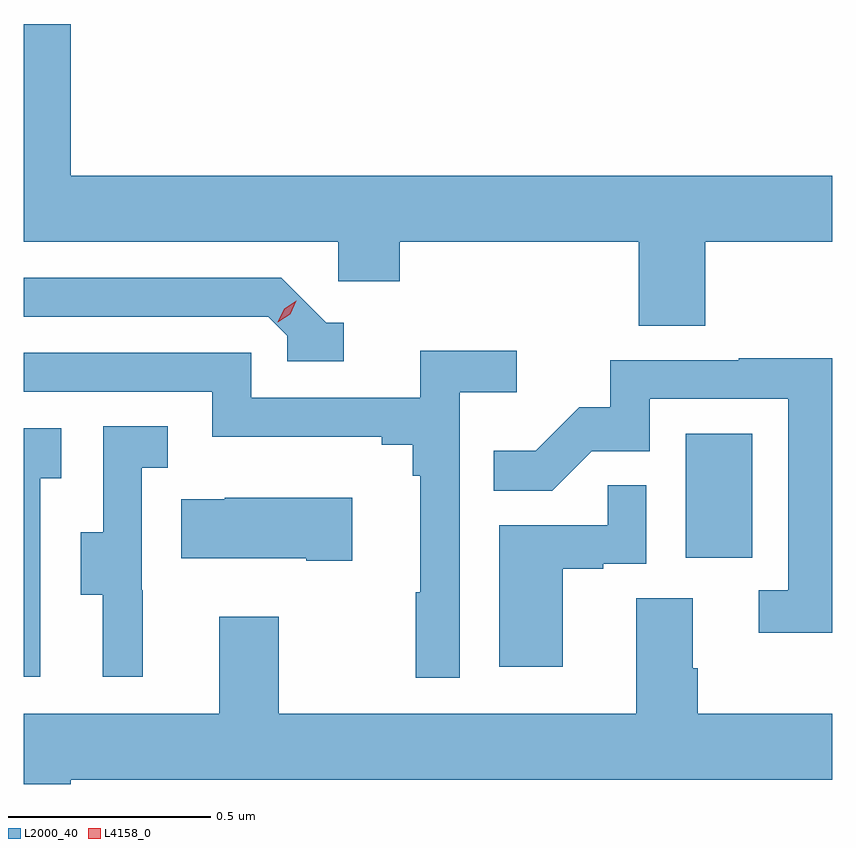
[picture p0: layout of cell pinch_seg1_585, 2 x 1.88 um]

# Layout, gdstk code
import gdstk
lib = gdstk.Library(unit=1e-6, precision=1e-09)
def R(c, l, rs):  # rectangles x0, y0, x1, y1
    for r in rs: c.add(gdstk.rectangle(r[:2], r[2:], *l))
def P(c, l, *ps):  # polygons
    for p in ps: c.add(gdstk.Polygon(p, *l))
L2000_40 = (2000, 40)
L4158_0 = (4158, 0)

pinch_seg1_585 = lib.new_cell('pinch_seg1_585')
R(pinch_seg1_585, L2000_40, [(1077.782,518.982,1077.946,519.289)])
P(pinch_seg1_585, L2000_40, [(1077.83,519.764),(1078.144,519.764),(1078.144,519.928),(1076.26,519.928),(1076.26,520.303),(1076.144,520.303),(1076.144,519.764),(1076.922,519.764),(1076.922,519.666),(1077.074,519.666),(1077.074,519.764),(1077.665,519.764),(1077.665,519.556),(1077.83,519.556)],
  [(1076.935,519.564),(1076.892,519.564),(1076.781,519.675),(1076.144,519.675),(1076.144,519.579),(1076.748,519.579),(1076.796,519.531),(1076.796,519.468),(1076.935,519.468)],
  [(1077.222,519.392),(1077.364,519.392),(1077.364,519.494),(1077.125,519.494),(1077.125,519.378),(1076.706,519.378),(1076.706,519.489),(1076.144,519.489),(1076.144,519.393),(1076.61,519.393),(1076.61,519.281),(1077.029,519.281),(1077.029,519.262),(1077.106,519.262),(1077.106,519.185),(1077.125,519.185),(1077.125,518.897),(1077.114,518.897),(1077.114,518.685),(1077.222,518.685)],
  [(1078.144,519.476),(1077.913,519.476),(1077.913,519.471),(1077.595,519.471),(1077.595,519.354),(1077.518,519.354),(1077.411,519.247),(1077.307,519.247),(1077.307,519.148),(1077.451,519.148),(1077.549,519.246),(1077.693,519.246),(1077.693,519.375),(1078.035,519.375),(1078.035,518.901),(1077.963,518.901),(1077.963,518.796),(1078.144,518.796)],
  [(1076.438,518.901),(1076.436,518.901),(1076.436,519.205),(1076.5,519.205),(1076.5,519.308),(1076.34,519.308),(1076.34,519.045),(1076.285,519.045),(1076.285,518.89),(1076.339,518.89),(1076.339,518.688),(1076.438,518.688)],
  [(1076.184,519.179),(1076.236,519.179),(1076.236,519.303),(1076.144,519.303),(1076.144,518.688),(1076.184,518.688)],
  [(1077.478,518.955),(1077.578,518.955),(1077.578,518.967),(1077.684,518.967),(1077.684,519.161),(1077.589,519.161),(1077.589,519.063),(1077.32,519.063),(1077.32,518.712),(1077.478,518.712)],
  [(1076.956,519.13),(1076.641,519.13),(1076.641,519.127),(1076.533,519.127),(1076.533,518.981),(1076.843,518.981),(1076.843,518.974),(1076.956,518.974)],
  [(1076.26,518.432),(1078.144,518.432),(1078.144,518.596),(1077.812,518.596),(1077.812,518.708),(1077.799,518.708),(1077.799,518.882),(1077.659,518.882),(1077.659,518.596),(1076.775,518.596),(1076.775,518.836),(1076.627,518.836),(1076.627,518.596),(1076.144,518.596),(1076.144,518.422),(1076.26,518.422)])
P(pinch_seg1_585, L4158_0, [(1076.772,519.565),(1076.772,519.565),(1076.788,519.598),(1076.818,519.618),(1076.818,519.618),(1076.818,519.618),(1076.803,519.585),(1076.772,519.565)])

lib.write_gds('pinch_seg1_585.gds')
